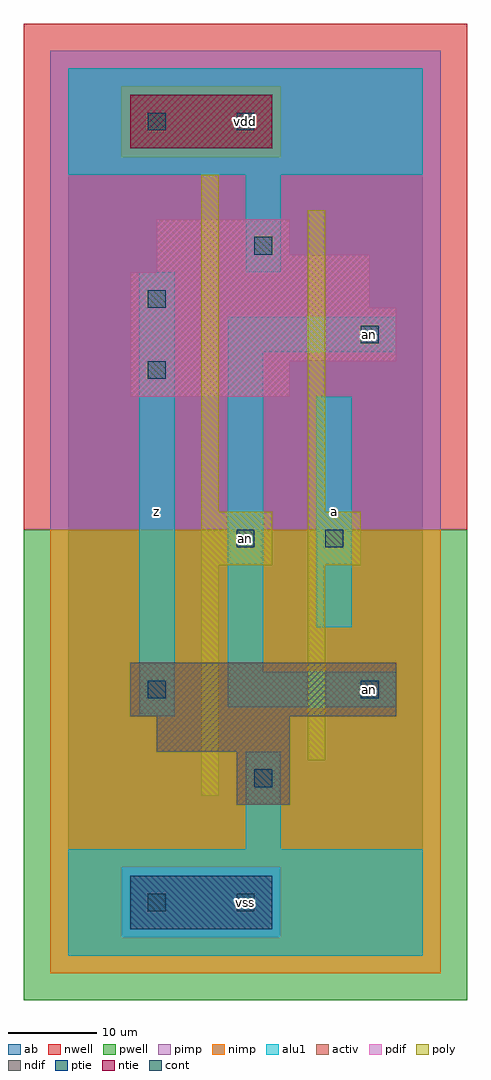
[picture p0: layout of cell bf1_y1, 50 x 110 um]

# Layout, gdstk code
import gdstk
lib = gdstk.Library(unit=1e-6, precision=1e-09)
def R(c, l, rs):  # rectangles x0, y0, x1, y1
    for r in rs: c.add(gdstk.rectangle(r[:2], r[2:], *l))
ndif = (3, 0)
pdif = (4, 0)
ntie = (5, 0)
ptie = (6, 0)
cont = (25, 0)
pwell = (41, 0)
nwell = (42, 0)
activ = (43, 0)
pimp = (44, 0)
nimp = (45, 0)
poly = (46, 0)
alu1 = (49, 0)
ab = (63, 0)

bf1_y1 = lib.new_cell('bf1_y1')
R(bf1_y1, ndif, [(19,17,25,23), (10,23,25,27), (7,27,37,33)])
R(bf1_y1, pdif, [(7,63,25,67), (7,67,37,73), (7,73,34,77), (10,77,34,79), (10,79,25,83)])
R(bf1_y1, ntie, [(7,91,23,97)])
R(bf1_y1, ptie, [(7,3,23,9)])
R(bf1_y1, cont, [(9,5,11,7), (19,5,21,7), (21,19,23,21), (9,29,11,31), (33,29,35,31), (19,46,21,48), (29,46,31,48), (9,65,11,67), (33,69,35,71), (9,73,11,75), (21,79,23,81), (9,93,11,95), (19,93,21,95)])
R(bf1_y1, pwell, [(-5,-5,45,48)])
R(bf1_y1, nwell, [(-5,48,45,105)])
R(bf1_y1, activ, [(7,3,23,9), (19,17,25,23), (10,23,25,27), (7,27,37,33), (7,63,25,67), (7,67,37,73), (7,73,34,77), (10,77,34,79), (10,79,25,83), (7,91,23,97)])
R(bf1_y1, pimp, [(6,2,24,10), (-2,48,42,90), (-2,90,6,98), (24,90,42,98), (-2,98,42,102)])
R(bf1_y1, nimp, [(-2,-2,42,2), (-2,2,6,10), (24,2,42,10), (-2,10,42,48), (6,90,24,98)])
R(bf1_y1, poly, [(15,18,17,44), (27,22,29,44), (15,44,23,50), (27,44,33,50), (15,50,17,88), (27,50,29,84)])
R(bf1_y1, alu1, [(0,0,40,12), (20,12,24,23), (8,27,12,77), (18,28,37,32), (18,32,22,68), (28,37,32,63), (18,68,37,72), (20,77,24,88), (0,88,40,100)])
R(bf1_y1, ab, [(0,0,40,100)])
bf1_y1.add(gdstk.Label('an', (20,47), layer=49, texttype=0))
bf1_y1.add(gdstk.Label('an', (34,30), layer=49, texttype=0))
bf1_y1.add(gdstk.Label('an', (34,70), layer=49, texttype=0))
bf1_y1.add(gdstk.Label('vss', (20,6), layer=49, texttype=0))
bf1_y1.add(gdstk.Label('z', (10,50), layer=49, texttype=0))
bf1_y1.add(gdstk.Label('vdd', (20,94), layer=49, texttype=0))
bf1_y1.add(gdstk.Label('a', (30,50), layer=49, texttype=0))

lib.write_gds('bf1_y1.gds')
